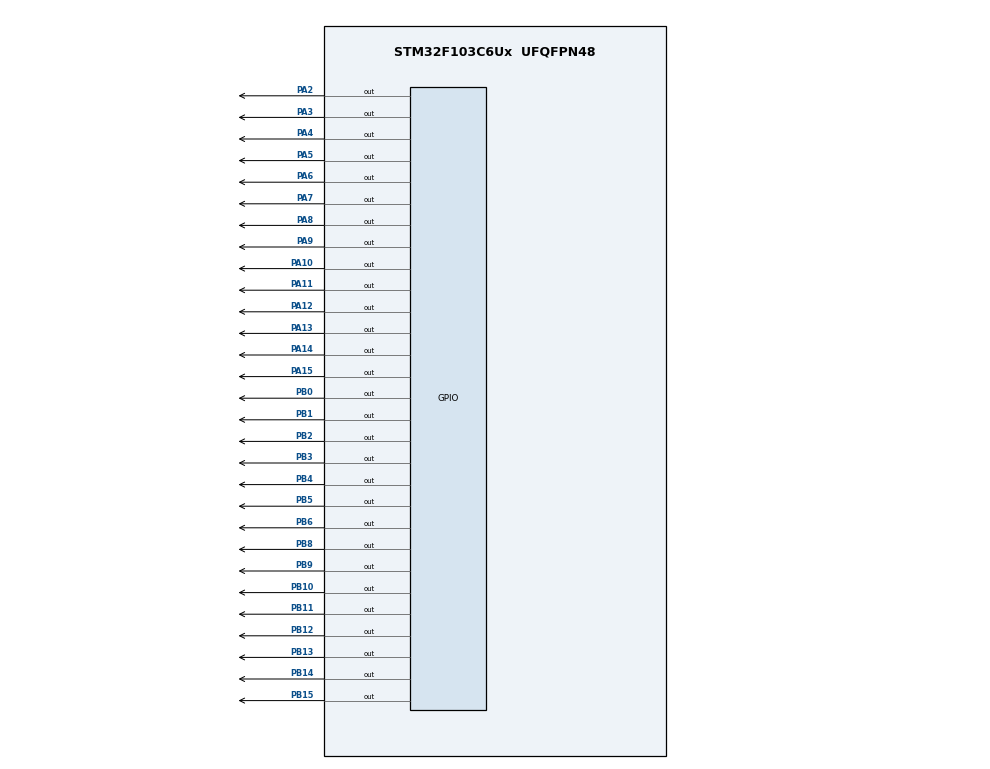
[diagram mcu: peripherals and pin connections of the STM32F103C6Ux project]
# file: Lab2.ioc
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Mcu.Family=STM32F1
Mcu.Name=STM32F103C6Ux
Mcu.Package=UFQFPN48
NVIC.PriorityGroup=NVIC_PRIORITYGROUP_4
NVIC.TIM2_IRQn=true\:0\:0\:false\:false\:true\:true\:true
PA10.Signal=GPIO_Output
PA11.Signal=GPIO_Output
PA12.Signal=GPIO_Output
PA13.Signal=GPIO_Output
PA14.Signal=GPIO_Output
PA15.Signal=GPIO_Output
PA2.Signal=GPIO_Output
PA3.Signal=GPIO_Output
PA4.Signal=GPIO_Output
PA5.Signal=GPIO_Output
PA6.Signal=GPIO_Output
PA7.Signal=GPIO_Output
PA8.Signal=GPIO_Output
PA9.Signal=GPIO_Output
PB0.Signal=GPIO_Output
PB1.Signal=GPIO_Output
PB10.Signal=GPIO_Output
PB11.Signal=GPIO_Output
PB12.Signal=GPIO_Output
PB13.Signal=GPIO_Output
PB14.Signal=GPIO_Output
PB15.Signal=GPIO_Output
PB2.Signal=GPIO_Output
PB3.Signal=GPIO_Output
PB4.Signal=GPIO_Output
PB5.Signal=GPIO_Output
PB6.Signal=GPIO_Output
PB8.Signal=GPIO_Output
PB9.Signal=GPIO_Output
ProjectManager.HeapSize=0x200
ProjectManager.StackSize=0x400
ProjectManager.TargetToolchain=STM32CubeIDE
RCC.APB1Freq_Value=8000000
RCC.APB2Freq_Value=8000000
TIM2.Period=9
TIM2.Prescaler=7999
VP_SYS_VS_ND.Mode=No_Debug
VP_TIM2_VS_ClockSourceINT.Mode=Internal
board=custom

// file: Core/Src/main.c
/* USER CODE BEGIN Header */
/**
  ******************************************************************************
  * @file           : main.c
  * @brief          : Main program body
  ******************************************************************************
  * @attention
  *
  * <h2><center>&copy; Copyright (c) 2023 STMicroelectronics.
  * All rights reserved.</center></h2>
  *
  * This software component is licensed by ST under BSD 3-Clause license,
  * the "License"; You may not use this file except in compliance with the
  * License. You may obtain a copy of the License at:
  *                        opensource.org/licenses/BSD-3-Clause
  *
  ******************************************************************************
  */
/* USER CODE END Header */
#include "main.h"
#include "software_timer.h"

TIM_HandleTypeDef htim2;

void SystemClock_Config(void);
static void MX_GPIO_Init(void);
static void MX_TIM2_Init(void);
void display7SEG (int num);
void update7SEG(int index);
void updateClockBuffer();
void writeCOL (int i);
void writeROW (uint8_t *A, int i);

int hour = 15, minute = 8, second = 50;
uint8_t COL [] = {0xFE , 0xFD , 0xFB , 0xF7 , 0xEF , 0xDF , 0xBF ,0x7F};
uint8_t A[] = {0xFF , 0xC0 , 0x80 , 0x33 , 0x33 , 0x80 , 0xC0 , 0xFF};
int main(void)
{

  /* MCU Configuration--------------------------------------------------------*/

  /* Reset of all peripherals, Initializes the Flash interface and the Systick. */
  HAL_Init();

  /* Configure the system clock */
  SystemClock_Config();

  /* Initialize all configured peripherals */
  MX_GPIO_Init();
  MX_TIM2_Init();
  /* USER CODE BEGIN 2 */
  HAL_TIM_Base_Start_IT(&htim2);
  /* USER CODE END 2 */

  /* Infinite loop */
  /* USER CODE BEGIN WHILE */
  setTimer1(25);
  setTimer2(50);
  setTimer3(10);
  setTimer4(20);
  int index_led = 0;
  int i = 0;
  int j = 0;
  HAL_GPIO_WritePin(GPIOA, GPIO_PIN_6, SET);
  HAL_GPIO_WritePin(GPIOA, GPIO_PIN_7, SET);
  HAL_GPIO_WritePin(GPIOA, GPIO_PIN_8, SET);
  HAL_GPIO_WritePin(GPIOA, GPIO_PIN_9, SET);
  HAL_GPIO_WritePin(GPIOA, GPIO_PIN_4, SET);
  HAL_GPIO_WritePin(GPIOA, GPIO_PIN_5, SET);
  while (1)
  {
    /* USER CODE END WHILE */
	  if(timer1_flag == 1){
	  		  if(second >= 60){
	  			  second = 0;
	  			  minute++;
	  		  }
	  		  if(minute >= 60){
	  			  minute = 0;
	  			  hour++;
	  		  }
	  		  if(hour >= 24){
	  			  hour = 0;
	  		  }
	  		  second++;
	  		  updateClockBuffer(hour, minute);
	  		  setTimer1(25);
	  	  }
	  	  if(timer2_flag == 1){
	  		  update7SEG(index_led);
	  		  if(index_led >= 3){
	  			  index_led = 0;
	  		  }
	  		  else{
	  			  index_led++;
	  		  }
	  		  setTimer2(50);
	  	  }
	  	  if(timer3_flag == 1){
	  		  HAL_GPIO_TogglePin(GPIOA, GPIO_PIN_4);
	  		  HAL_GPIO_TogglePin(GPIOA, GPIO_PIN_5);
	  		  setTimer3(10);
	  	  }
	  	  if(timer4_flag == 1){
	  		  writeCOL((i+j)%8);
	  		  writeROW(A,i);
	  		  setTimer4(4) ;
	  		  i++;
	  		  if(i == 8){
	  			  i = 0;
	  			  j++;
		  }
	  		  if(j == 8) j = 0;
	  		  setTimer4(20);
	  	  }
  }
}

void SystemClock_Config(void)
{
  RCC_OscInitTypeDef RCC_OscInitStruct = {0};
  RCC_ClkInitTypeDef RCC_ClkInitStruct = {0};

  /** Initializes the RCC Oscillators according to the specified parameters
  * in the RCC_OscInitTypeDef structure.
  */
  RCC_OscInitStruct.OscillatorType = RCC_OSCILLATORTYPE_HSI;
  RCC_OscInitStruct.HSIState = RCC_HSI_ON;
  RCC_OscInitStruct.HSICalibrationValue = RCC_HSICALIBRATION_DEFAULT;
  RCC_OscInitStruct.PLL.PLLState = RCC_PLL_NONE;
  if (HAL_RCC_OscConfig(&RCC_OscInitStruct) != HAL_OK)
  {
    Error_Handler();
  }
  /** Initializes the CPU, AHB and APB buses clocks
  */
  RCC_ClkInitStruct.ClockType = RCC_CLOCKTYPE_HCLK|RCC_CLOCKTYPE_SYSCLK
                              |RCC_CLOCKTYPE_PCLK1|RCC_CLOCKTYPE_PCLK2;
  RCC_ClkInitStruct.SYSCLKSource = RCC_SYSCLKSOURCE_HSI;
  RCC_ClkInitStruct.AHBCLKDivider = RCC_SYSCLK_DIV1;
  RCC_ClkInitStruct.APB1CLKDivider = RCC_HCLK_DIV1;
  RCC_ClkInitStruct.APB2CLKDivider = RCC_HCLK_DIV1;

  if (HAL_RCC_ClockConfig(&RCC_ClkInitStruct, FLASH_LATENCY_0) != HAL_OK)
  {
    Error_Handler();
  }
}

static void MX_TIM2_Init(void)
{

  TIM_ClockConfigTypeDef sClockSourceConfig = {0};
  TIM_MasterConfigTypeDef sMasterConfig = {0};

  htim2.Instance = TIM2;
  htim2.Init.Prescaler = 7999;
  htim2.Init.CounterMode = TIM_COUNTERMODE_UP;
  htim2.Init.Period = 9;
  htim2.Init.ClockDivision = TIM_CLOCKDIVISION_DIV1;
  htim2.Init.AutoReloadPreload = TIM_AUTORELOAD_PRELOAD_DISABLE;
  if (HAL_TIM_Base_Init(&htim2) != HAL_OK)
  {
    Error_Handler();
  }
  sClockSourceConfig.ClockSource = TIM_CLOCKSOURCE_INTERNAL;
  if (HAL_TIM_ConfigClockSource(&htim2, &sClockSourceConfig) != HAL_OK)
  {
    Error_Handler();
  }
  sMasterConfig.MasterOutputTrigger = TIM_TRGO_RESET;
  sMasterConfig.MasterSlaveMode = TIM_MASTERSLAVEMODE_DISABLE;
  if (HAL_TIMEx_MasterConfigSynchronization(&htim2, &sMasterConfig) != HAL_OK)
  {
    Error_Handler();
  }

}

static void MX_GPIO_Init(void)
{
  GPIO_InitTypeDef GPIO_InitStruct = {0};

  /* GPIO Ports Clock Enable */
  __HAL_RCC_GPIOA_CLK_ENABLE();
  __HAL_RCC_GPIOB_CLK_ENABLE();

  /*Configure GPIO pin Output Level */
  HAL_GPIO_WritePin(GPIOA, GPIO_PIN_2|GPIO_PIN_3|GPIO_PIN_4|GPIO_PIN_5
                          |GPIO_PIN_6|GPIO_PIN_7|GPIO_PIN_8|GPIO_PIN_9
                          |GPIO_PIN_10|GPIO_PIN_11|GPIO_PIN_12|GPIO_PIN_13
                          |GPIO_PIN_14|GPIO_PIN_15, GPIO_PIN_RESET);

  /*Configure GPIO pin Output Level */
  HAL_GPIO_WritePin(GPIOB, GPIO_PIN_0|GPIO_PIN_1|GPIO_PIN_2|GPIO_PIN_10
                          |GPIO_PIN_11|GPIO_PIN_12|GPIO_PIN_13|GPIO_PIN_14
                          |GPIO_PIN_15|GPIO_PIN_3|GPIO_PIN_4|GPIO_PIN_5
                          |GPIO_PIN_6|GPIO_PIN_8|GPIO_PIN_9, GPIO_PIN_RESET);

  /*Configure GPIO pins : PA2 PA3 PA4 PA5
                           PA6 PA7 PA8 PA9
                           PA10 PA11 PA12 PA13
                           PA14 PA15 */
  GPIO_InitStruct.Pin = GPIO_PIN_2|GPIO_PIN_3|GPIO_PIN_4|GPIO_PIN_5
                          |GPIO_PIN_6|GPIO_PIN_7|GPIO_PIN_8|GPIO_PIN_9
                          |GPIO_PIN_10|GPIO_PIN_11|GPIO_PIN_12|GPIO_PIN_13
                          |GPIO_PIN_14|GPIO_PIN_15;
  GPIO_InitStruct.Mode = GPIO_MODE_OUTPUT_PP;
  GPIO_InitStruct.Pull = GPIO_NOPULL;
  GPIO_InitStruct.Speed = GPIO_SPEED_FREQ_LOW;
  HAL_GPIO_Init(GPIOA, &GPIO_InitStruct);

  /*Configure GPIO pins : PB0 PB1 PB2 PB10
                           PB11 PB12 PB13 PB14
                           PB15 PB3 PB4 PB5
                           PB6 PB8 PB9 */
  GPIO_InitStruct.Pin = GPIO_PIN_0|GPIO_PIN_1|GPIO_PIN_2|GPIO_PIN_10
                          |GPIO_PIN_11|GPIO_PIN_12|GPIO_PIN_13|GPIO_PIN_14
                          |GPIO_PIN_15|GPIO_PIN_3|GPIO_PIN_4|GPIO_PIN_5
                          |GPIO_PIN_6|GPIO_PIN_8|GPIO_PIN_9;
  GPIO_InitStruct.Mode = GPIO_MODE_OUTPUT_PP;
  GPIO_InitStruct.Pull = GPIO_NOPULL;
  GPIO_InitStruct.Speed = GPIO_SPEED_FREQ_LOW;
  HAL_GPIO_Init(GPIOB, &GPIO_InitStruct);

}

/* USER CODE BEGIN 4 */
const int MAX_LED = 4;
int index_led = 0;
int led_buffer[4] = {1, 2, 3, 4};
void update7SEG(int index){
	switch(index){
		case 0:
			display7SEG(led_buffer[0]);
			HAL_GPIO_WritePin(GPIOA, GPIO_PIN_6, RESET);
			HAL_GPIO_WritePin(GPIOA, GPIO_PIN_7, SET);
			HAL_GPIO_WritePin(GPIOA, GPIO_PIN_8, SET);
			HAL_GPIO_WritePin(GPIOA, GPIO_PIN_9, SET);
			break;
		case 1:
			display7SEG(led_buffer[1]);
			HAL_GPIO_WritePin(GPIOA, GPIO_PIN_6, SET);
			HAL_GPIO_WritePin(GPIOA, GPIO_PIN_7, RESET);
			HAL_GPIO_WritePin(GPIOA, GPIO_PIN_8, SET);
			HAL_GPIO_WritePin(GPIOA, GPIO_PIN_9, SET);
			break;
		case 2:
			display7SEG(led_buffer[2]);
			HAL_GPIO_WritePin(GPIOA, GPIO_PIN_6, SET);
			HAL_GPIO_WritePin(GPIOA, GPIO_PIN_7, SET);
			HAL_GPIO_WritePin(GPIOA, GPIO_PIN_8, RESET);
			HAL_GPIO_WritePin(GPIOA, GPIO_PIN_9, SET);
			break;
		case 3:
			display7SEG(led_buffer[3]);
			HAL_GPIO_WritePin(GPIOA, GPIO_PIN_6, SET);
			HAL_GPIO_WritePin(GPIOA, GPIO_PIN_7, SET);
			HAL_GPIO_WritePin(GPIOA, GPIO_PIN_8, SET);
			HAL_GPIO_WritePin(GPIOA, GPIO_PIN_9, RESET);
			break;
		default:
			break;
	}
}
void display7SEG (int num){
	switch (num){
		case 0:
			HAL_GPIO_WritePin(GPIOB, GPIO_PIN_0, RESET);
			HAL_GPIO_WritePin(GPIOB, GPIO_PIN_1, RESET);
			HAL_GPIO_WritePin(GPIOB, GPIO_PIN_2, RESET);
			HAL_GPIO_WritePin(GPIOB, GPIO_PIN_3, RESET);
			HAL_GPIO_WritePin(GPIOB, GPIO_PIN_4, RESET);
			HAL_GPIO_WritePin(GPIOB, GPIO_PIN_5, RESET);
			HAL_GPIO_WritePin(GPIOB, GPIO_PIN_6, SET);
			break;
		case 1:
			HAL_GPIO_WritePin(GPIOB, GPIO_PIN_0, SET);
			HAL_GPIO_WritePin(GPIOB, GPIO_PIN_1, RESET);
			HAL_GPIO_WritePin(GPIOB, GPIO_PIN_2, RESET);
			HAL_GPIO_WritePin(GPIOB, GPIO_PIN_3, SET);
			HAL_GPIO_WritePin(GPIOB, GPIO_PIN_4, SET);
			HAL_GPIO_WritePin(GPIOB, GPIO_PIN_5, SET);
			HAL_GPIO_WritePin(GPIOB, GPIO_PIN_6, SET);
			break;
		case 2:
			HAL_GPIO_WritePin(GPIOB, GPIO_PIN_0, RESET);
			HAL_GPIO_WritePin(GPIOB, GPIO_PIN_1, RESET);
			HAL_GPIO_WritePin(GPIOB, GPIO_PIN_2, SET);
			HAL_GPIO_WritePin(GPIOB, GPIO_PIN_3, RESET);
			HAL_GPIO_WritePin(GPIOB, GPIO_PIN_4, RESET);
			HAL_GPIO_WritePin(GPIOB, GPIO_PIN_5, SET);
			HAL_GPIO_WritePin(GPIOB, GPIO_PIN_6, RESET);
			break;
		case 3:
			HAL_GPIO_WritePin(GPIOB, GPIO_PIN_0, RESET);
			HAL_GPIO_WritePin(GPIOB, GPIO_PIN_1, RESET);
			HAL_GPIO_WritePin(GPIOB, GPIO_PIN_2, RESET);
			HAL_GPIO_WritePin(GPIOB, GPIO_PIN_3, RESET);
			HAL_GPIO_WritePin(GPIOB, GPIO_PIN_4, SET);
			HAL_GPIO_WritePin(GPIOB, GPIO_PIN_5, SET);
			HAL_GPIO_WritePin(GPIOB, GPIO_PIN_6, RESET);
			break;
		case 4:
			HAL_GPIO_WritePin(GPIOB, GPIO_PIN_0, SET);
			HAL_GPIO_WritePin(GPIOB, GPIO_PIN_1, RESET);
			HAL_GPIO_WritePin(GPIOB, GPIO_PIN_2, RESET);
			HAL_GPIO_WritePin(GPIOB, GPIO_PIN_3, SET);
			HAL_GPIO_WritePin(GPIOB, GPIO_PIN_4, SET);
			HAL_GPIO_WritePin(GPIOB, GPIO_PIN_5, RESET);
			HAL_GPIO_WritePin(GPIOB, GPIO_PIN_6, RESET);
			break;
		case 5:
			HAL_GPIO_WritePin(GPIOB, GPIO_PIN_0, RESET);
			HAL_GPIO_WritePin(GPIOB, GPIO_PIN_1, SET);
			HAL_GPIO_WritePin(GPIOB, GPIO_PIN_2, RESET);
			HAL_GPIO_WritePin(GPIOB, GPIO_PIN_3, RESET);
			HAL_GPIO_WritePin(GPIOB, GPIO_PIN_4, SET);
			HAL_GPIO_WritePin(GPIOB, GPIO_PIN_5, RESET);
			HAL_GPIO_WritePin(GPIOB, GPIO_PIN_6, RESET);
			break;
		case 6:
			HAL_GPIO_WritePin(GPIOB, GPIO_PIN_0, RESET);
			HAL_GPIO_WritePin(GPIOB, GPIO_PIN_1, SET);
			HAL_GPIO_WritePin(GPIOB, GPIO_PIN_2, RESET);
			HAL_GPIO_WritePin(GPIOB, GPIO_PIN_3, RESET);
			HAL_GPIO_WritePin(GPIOB, GPIO_PIN_4, RESET);
			HAL_GPIO_WritePin(GPIOB, GPIO_PIN_5, RESET);
			HAL_GPIO_WritePin(GPIOB, GPIO_PIN_6, RESET);
			break;
		case 7:
			HAL_GPIO_WritePin(GPIOB, GPIO_PIN_0, RESET);
			HAL_GPIO_WritePin(GPIOB, GPIO_PIN_1, RESET);
			HAL_GPIO_WritePin(GPIOB, GPIO_PIN_2, RESET);
			HAL_GPIO_WritePin(GPIOB, GPIO_PIN_3, SET);
			HAL_GPIO_WritePin(GPIOB, GPIO_PIN_4, SET);
			HAL_GPIO_WritePin(GPIOB, GPIO_PIN_5, SET);
			HAL_GPIO_WritePin(GPIOB, GPIO_PIN_6, SET);
			break;
		case 8:
			HAL_GPIO_WritePin(GPIOB, GPIO_PIN_0, RESET);
			HAL_GPIO_WritePin(GPIOB, GPIO_PIN_1, RESET);
			HAL_GPIO_WritePin(GPIOB, GPIO_PIN_2, RESET);
			HAL_GPIO_WritePin(GPIOB, GPIO_PIN_3, RESET);
			HAL_GPIO_WritePin(GPIOB, GPIO_PIN_4, RESET);
			HAL_GPIO_WritePin(GPIOB, GPIO_PIN_5, RESET);
			HAL_GPIO_WritePin(GPIOB, GPIO_PIN_6, RESET);
			break;
		case 9:
			HAL_GPIO_WritePin(GPIOB, GPIO_PIN_0, RESET);
			HAL_GPIO_WritePin(GPIOB, GPIO_PIN_1, RESET);
			HAL_GPIO_WritePin(GPIOB, GPIO_PIN_2, RESET);
			HAL_GPIO_WritePin(GPIOB, GPIO_PIN_3, RESET);
			HAL_GPIO_WritePin(GPIOB, GPIO_PIN_4, SET);
			HAL_GPIO_WritePin(GPIOB, GPIO_PIN_5, RESET);
			HAL_GPIO_WritePin(GPIOB, GPIO_PIN_6, RESET);
			break;
	}
}
void updateClockBuffer(){
	led_buffer[0] = hour/10;
	led_buffer[1] = hour%10;
	led_buffer[2] = minute/10;
	led_buffer[3] = minute%10;
}
void writeCOL (int i){
	HAL_GPIO_WritePin (GPIOA , GPIO_PIN_2, ( COL[i] >> 0) & 0x01 );
	HAL_GPIO_WritePin (GPIOA , GPIO_PIN_3, ( COL[i] >> 1) & 0x01 );
	HAL_GPIO_WritePin (GPIOA , GPIO_PIN_10, ( COL[i] >> 2) & 0x01 );
	HAL_GPIO_WritePin (GPIOA , GPIO_PIN_11, ( COL[i] >> 3) & 0x01 );
	HAL_GPIO_WritePin (GPIOA , GPIO_PIN_12, ( COL[i] >> 4) & 0x01 );
	HAL_GPIO_WritePin (GPIOA , GPIO_PIN_13, ( COL[i] >> 5) & 0x01 );
	HAL_GPIO_WritePin (GPIOA , GPIO_PIN_14, ( COL[i] >> 6) & 0x01 );
	HAL_GPIO_WritePin (GPIOA , GPIO_PIN_15, ( COL[i] >> 7) & 0x01 );
}
void writeROW ( uint8_t *A, int i){
	HAL_GPIO_WritePin (GPIOB , GPIO_PIN_8, (A[i] >> 0) & 0x01 );
	HAL_GPIO_WritePin (GPIOB , GPIO_PIN_9, (A[i] >> 1) & 0x01 );
	HAL_GPIO_WritePin (GPIOB , GPIO_PIN_10, (A[i] >> 2) & 0x01 );
	HAL_GPIO_WritePin (GPIOB , GPIO_PIN_11, (A[i] >> 3) & 0x01 );
	HAL_GPIO_WritePin (GPIOB , GPIO_PIN_12, (A[i] >> 4) & 0x01 );
	HAL_GPIO_WritePin (GPIOB , GPIO_PIN_13, (A[i] >> 5) & 0x01 );
	HAL_GPIO_WritePin (GPIOB , GPIO_PIN_14, (A[i] >> 6) & 0x01 );
	HAL_GPIO_WritePin (GPIOB , GPIO_PIN_15, (A[i] >> 7) & 0x01 );
}
void HAL_TIM_PeriodElapsedCallback(TIM_HandleTypeDef *htim){
	timerRun();
}
/* USER CODE END 4 */

void Error_Handler(void)
{
  __disable_irq();
  while (1)
  {
  }
}

/************************ (C) COPYRIGHT STMicroelectronics *****END OF FILE****/
